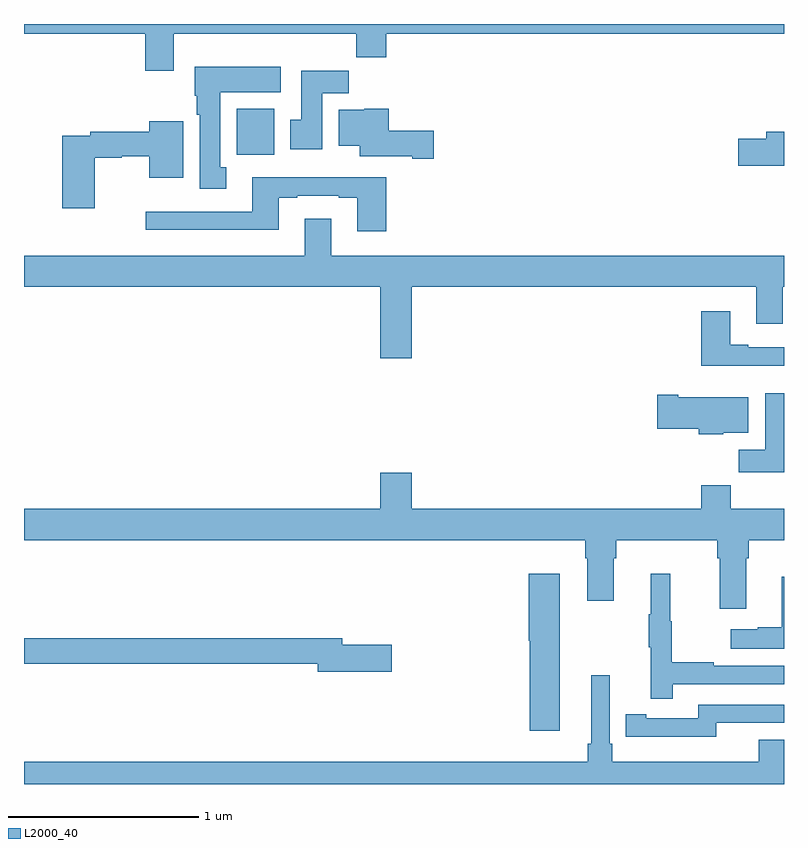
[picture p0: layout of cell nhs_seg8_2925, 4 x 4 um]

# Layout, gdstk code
import gdstk
lib = gdstk.Library(unit=1e-6, precision=1e-09)
def R(c, l, rs):  # rectangles x0, y0, x1, y1
    for r in rs: c.add(gdstk.rectangle(r[:2], r[2:], *l))
def P(c, l, *ps):  # polygons
    for p in ps: c.add(gdstk.Polygon(p, *l))
L2000_40 = (2000, 40)

nhs_seg8_2925 = lib.new_cell('nhs_seg8_2925')
R(nhs_seg8_2925, L2000_40, [(296.12,1101.212,296.317,1101.454)])
P(nhs_seg8_2925, L2000_40, [(295.789,1101.848),(296.749,1101.848),(296.749,1101.724),(296.906,1101.724),(296.906,1101.848),(299,1101.848),(299,1101.9),(295,1101.9),(295,1101.848),(295.637,1101.848),(295.637,1101.654),(295.789,1101.654)],
  [(296.065,1101.146),(296.032,1101.146),(296.032,1101.542),(296.35,1101.542),(296.35,1101.676),(295.898,1101.676),(295.898,1101.522),(295.91,1101.522),(295.91,1101.422),(295.925,1101.422),(295.925,1101.033),(296.065,1101.033)],
  [(296.569,1101.536),(296.708,1101.536),(296.708,1101.655),(296.459,1101.655),(296.459,1101.396),(296.402,1101.396),(296.402,1101.24),(296.569,1101.24)],
  [(297.157,1101.338),(296.921,1101.338),(296.921,1101.454),(296.79,1101.454),(296.79,1101.448),(296.657,1101.448),(296.657,1101.26),(296.768,1101.26),(296.768,1101.203),(297.044,1101.203),(297.044,1101.191),(297.157,1101.191)],
  [(295.372,1101.196),(295.515,1101.196),(295.515,1101.204),(295.658,1101.204),(295.658,1101.092),(295.837,1101.092),(295.837,1101.388),(295.658,1101.388),(295.658,1101.332),(295.348,1101.332),(295.348,1101.312),(295.202,1101.312),(295.202,1100.931),(295.372,1100.931)],
  [(299,1101.332),(298.907,1101.332),(298.907,1101.296),(298.758,1101.296),(298.758,1101.154),(299,1101.154)],
  [(296.906,1101.094),(296.201,1101.094),(296.201,1100.913),(295.641,1100.913),(295.641,1100.816),(296.341,1100.816),(296.341,1100.985),(296.437,1100.985),(296.437,1100.997),(296.657,1100.997),(296.657,1100.985),(296.753,1100.985),(296.753,1100.808),(296.906,1100.808)],
  [(297.04,1100.516),(298.853,1100.516),(298.853,1100.322),(298.993,1100.322),(298.993,1100.516),(299,1100.516),(299,1100.68),(296.617,1100.68),(296.617,1100.875),(296.477,1100.875),(296.477,1100.68),(295,1100.68),(295,1100.516),(296.876,1100.516),(296.876,1100.142),(297.04,1100.142)],
  [(299,1100.199),(298.813,1100.199),(298.813,1100.212),(298.717,1100.212),(298.717,1100.389),(298.565,1100.389),(298.565,1100.102),(299,1100.102)],
  [(299,1099.957),(298.901,1099.957),(298.901,1099.66),(298.762,1099.66),(298.762,1099.542),(299,1099.542)],
  [(298.68,1099.748),(298.813,1099.748),(298.813,1099.936),(298.444,1099.936),(298.444,1099.949),(298.332,1099.949),(298.332,1099.771),(298.55,1099.771),(298.55,1099.742),(298.68,1099.742)],
  [(297.04,1099.537),(296.876,1099.537),(296.876,1099.348),(295,1099.348),(295,1099.184),(297.953,1099.184),(297.953,1099.088),(297.965,1099.088),(297.965,1098.864),(298.105,1098.864),(298.105,1099.088),(298.118,1099.088),(298.118,1099.184),(298.649,1099.184),(298.649,1099.088),(298.661,1099.088),(298.661,1098.822),(298.801,1098.822),(298.801,1099.088),(298.814,1099.088),(298.814,1099.184),(299,1099.184),(299,1099.348),(298.721,1099.348),(298.721,1099.472),(298.565,1099.472),(298.565,1099.348),(297.04,1099.348)],
  [(297.82,1099.006),(297.656,1099.006),(297.656,1098.654),(297.662,1098.654),(297.662,1098.18),(297.82,1098.18)],
  [(298.415,1098.426),(299,1098.426),(299,1098.522),(298.631,1098.522),(298.631,1098.542),(298.408,1098.542),(298.408,1098.756),(298.4,1098.756),(298.4,1099.006),(298.298,1099.006),(298.298,1098.793),(298.287,1098.793),(298.287,1098.619),(298.298,1098.619),(298.298,1098.348),(298.415,1098.348)],
  [(299,1098.991),(298.988,1098.991),(298.988,1098.725),(298.862,1098.725),(298.862,1098.715),(298.719,1098.715),(298.719,1098.611),(299,1098.611)],
  [(296.935,1098.632),(296.674,1098.632),(296.674,1098.668),(295,1098.668),(295,1098.532),(296.546,1098.532),(296.546,1098.49),(296.935,1098.49)],
  [(299,1098.133),(298.868,1098.133),(298.868,1098.016),(298.097,1098.016),(298.097,1098.112),(298.083,1098.112),(298.083,1098.472),(297.986,1098.472),(297.986,1098.112),(297.967,1098.112),(297.967,1098.016),(295,1098.016),(295,1097.9),(299,1097.9)],
  [(298.644,1098.222),(299,1098.222),(299,1098.318),(298.548,1098.318),(298.548,1098.246),(298.276,1098.246),(298.276,1098.266),(298.168,1098.266),(298.168,1098.15),(298.276,1098.15),(298.276,1098.149),(298.644,1098.149)])

lib.write_gds('nhs_seg8_2925.gds')
